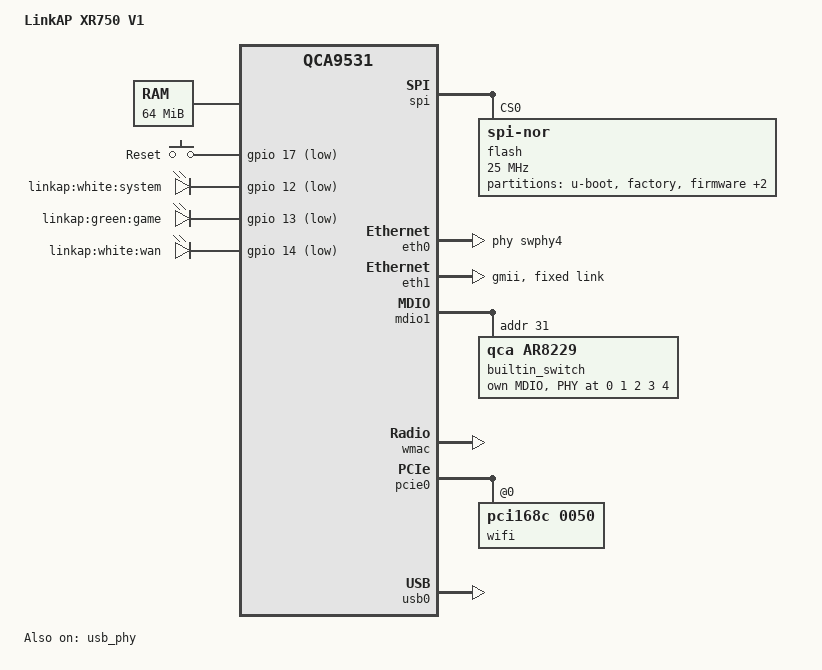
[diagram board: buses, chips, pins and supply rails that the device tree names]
// SPDX-License-Identifier: GPL-2.0-or-later
/dts-v1/;

#include "qca953x.dtsi"
#include <dt-bindings/gpio/gpio.h>
#include <dt-bindings/input/input.h>

/ {
	compatible = "linkap,xr750-v1", "qca,qca9531";
	model = "LinkAP XR750 V1";

	chosen {
		bootargs = "console=ttyS0,115200";
	};

	aliases {
		serial0 = &uart;
		led-boot = &led_system;
		led-failsafe = &led_system;
		led-running = &led_system;
		led-upgrade = &led_system;
	};

	memory@0 {
		device_type = "memory";
		reg = <0x0 0x4000000>; /* 64 MB */
	};

	keys {
		compatible = "gpio-keys";

		reset {
			label = "Reset";
			linux,code = <KEY_RESTART>;
			gpios = <&gpio 17 GPIO_ACTIVE_LOW>;
		};
	};

	leds {
		compatible = "gpio-leds";

		led_system: system {
			label = "linkap:white:system";
			gpios = <&gpio 12 GPIO_ACTIVE_LOW>;
		};

		game {
			label = "linkap:green:game";
			gpios = <&gpio 13 GPIO_ACTIVE_LOW>;
		};

		wan {
			label = "linkap:white:wan";
			gpios = <&gpio 14 GPIO_ACTIVE_LOW>;
		};
	};
};

&spi {
	status = "okay";

	flash@0 {
		compatible = "jedec,spi-nor";
		reg = <0>;
		spi-max-frequency = <25000000>;

		partitions {
			compatible = "fixed-partitions";
			#address-cells = <1>;
			#size-cells = <1>;

			partition@0 {
				label = "u-boot";
				reg = <0x000000 0x040000>;
				read-only;
			};

			factory: partition@40000 {
				label = "factory";
				reg = <0x040000 0x010000>;
				read-only;

				compatible = "nvmem-cells";
                		#address-cells = <1>;
                		#size-cells = <1>;

                		macaddr_factory_10: macaddr@10 {
                    			reg = <0x10 0x6>;
                		};
			};

			/* firmware 容器，包含 kernel + rootfs，总大小 0xF40000 (15616 KB) */
			partition@50000 {
				label = "firmware";
				reg = <0x050000 0xf40000>;
				compatible = "denx,uimage";
			};

			partition@f90000 {
				label = "backup";
				reg = <0xf90000 0x060000>;
			};

			art: partition@ff0000 {
				label = "art";
				reg = <0xff0000 0x010000>;
				read-only;
			};
		};
	};
};

&eth0 {
	status = "okay";

	phy-handle = <&swphy4>;
	mtd-mac-address = <&factory 0x10>;
};

&eth1 {
	status = "okay";

	phy-mode = "gmii";
	mtd-mac-address = <&factory 0x16>;

	fixed-link {
		speed = <1000>;
		full-duplex;
	};
};

&mdio1 {
	status = "okay";

	builtin_switch: switch0@1f {
		compatible = "qca,ar8229";
		reg = <0x1f>;
		phy-mode = "gmii";
		qca,phy4-mii-enable;

		mdio-bus {
			#address-cells = <1>;
			#size-cells = <0>;

			swphy0: ethernet-phy@0 {
				reg = <0>;
			};

			swphy1: ethernet-phy@1 {
				reg = <1>;
			};

			swphy2: ethernet-phy@2 {
				reg = <2>;
			};

			swphy3: ethernet-phy@3 {
				reg = <3>;
			};

			swphy4: ethernet-phy@4 {
				reg = <4>;
			};
		};
	};
};

&wmac {
	status = "okay";

	mtd-cal-data = <&art 0x1000>;
	/* 修正：基于 factory hex dump 数据，2.4G 无线 MAC 地址位于偏移量 0x1c 处 */
	mtd-mac-address = <&factory 0x1c>;
};

&pcie0 {
	status = "okay";

	wifi@0,0 {
		compatible = "pci168c,0050";
		reg = <0x0000 0 0 0 0>;
		qcom,ath10k-calibration-variant = "XR750";
		mtd-cal-data = <&art 0x5000>;
		mtd-mac-address = <&factory 0x1c>;
                mac-address-increment = <1>;
	};
};

&usb_phy {
	status = "okay";
};

&usb0 {
	status = "okay";
};
